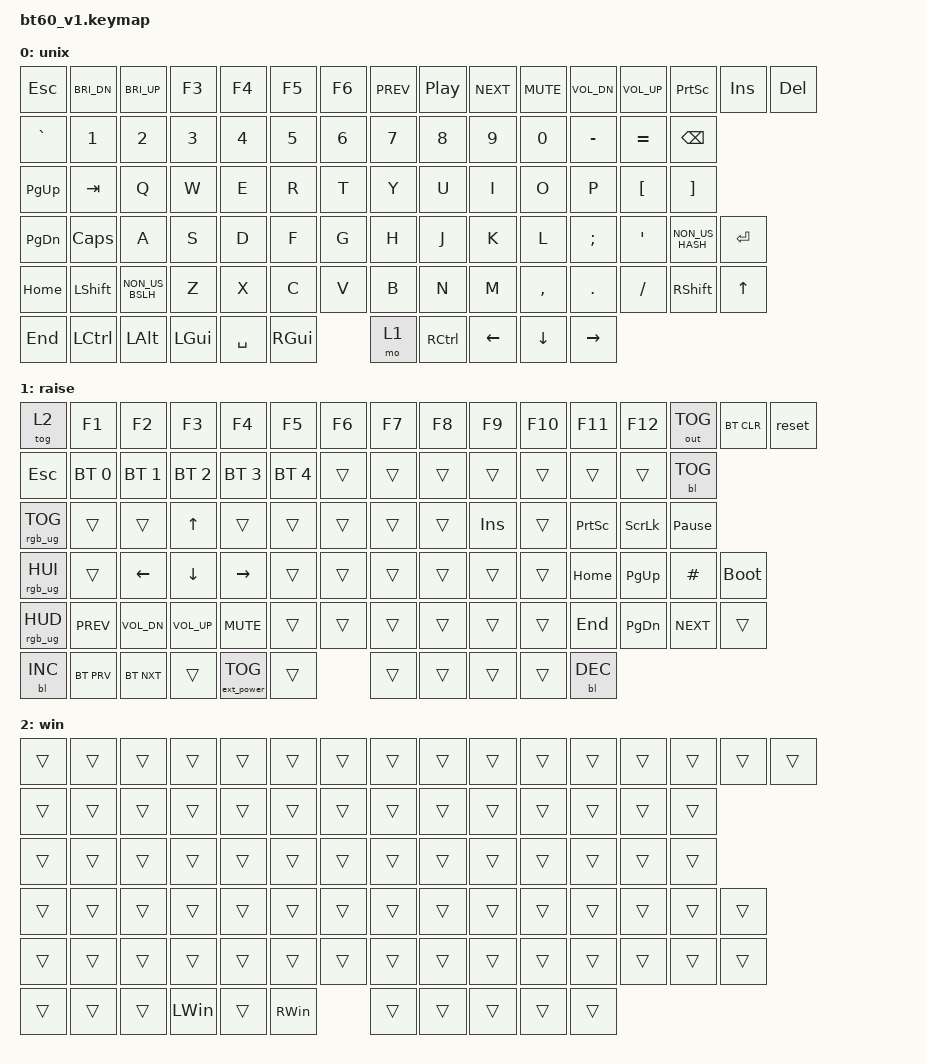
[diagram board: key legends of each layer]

  /*
  * Copyright (c) 2020 The ZMK Contributors
  *
  * SPDX-License-Identifier: MIT
  */

  #include <behaviors.dtsi>
  #include <dt-bindings/zmk/keys.h>
  #include <dt-bindings/zmk/bt.h>
  #include <dt-bindings/zmk/ext_power.h>
  #include <dt-bindings/zmk/backlight.h>
  #include <dt-bindings/zmk/outputs.h>
  #include <dt-bindings/zmk/rgb.h>
  #define ISO true

  / {
  
  	chosen {
     	#ifdef ANSI
    		zmk,matrix_transform = &ansi_transform;
     	#elif defined(HHKB)
    		zmk,matrix_transform = &hhkb_transform;
     	#elif defined(ISO)
    		zmk,matrix_transform = &iso_transform;
     	#elif defined(ALL_1U)
    		zmk,matrix_transform = &all_1u_transform;
     	#else
    		zmk,matrix_transform = &split_transform;
     	#endif
  	};
    keymap {
      compatible = "zmk,keymap";
      unix {
        // ------------------------------------------------------------------------------------------
        // | ESC |  🌚 |  🌝 | F3  |  F4 |  F5 |  F6 |  ⏪️ |  ⏯️ | ⏩️ | 🔇 | 🔉 | 🔊 |PSCRN|INS|DEL|
				// |GRAVE|  1  |  2  |  3  |  4  |  5  |  6  |  7  |  8  |  9  |  0  |  -  |  = | BKSP |PGUP|
				// | TAB |  Q  |  W  |  E  |  R  |  T  |  Y  |  U  |  I  |  O  |  P  |  [  |  ]  |     |PGDN|
				// |  CAPS  |  A  |  S  |  D  |  F  |  G  |  H  |  J  |  K  |  L | ; | ' |NUHS(\)|ENTER|HOME|
				// |LSHIFT|NUBS(§)|  Z  |  X  |  C  |  V  |  B  |  N  |  M  |  ,  |  .  | / |RSHFT| UP | END|
				// | LCTL | LALT | LGUI |            SPACE              | RGUI | mo 1 |RCTRL|LEFT|DOWN|RIGHT|
				// ------------------------------------------------------------------------------------------
        bindings = <
          &kp ESC &kp C_BRI_DN &kp C_BRI_UP &kp F3 &kp F4 &kp F5 &kp F6 &kp C_PREV &kp C_PP &kp C_NEXT &kp C_MUTE &kp C_VOL_DN &kp C_VOL_UP &kp PSCRN &kp INS &kp DEL 
          &kp GRAVE &kp N1 &kp N2 &kp N3 &kp N4 &kp N5 &kp N6 &kp N7 &kp N8 &kp N9 &kp N0 &kp MINUS &kp EQUAL &kp BSPC &kp PG_UP 
          &kp TAB &kp Q &kp W &kp E &kp R &kp T &kp Y &kp U &kp I &kp O &kp P &kp LBKT &kp RBKT &kp PG_DN 
          &kp CLCK &kp A &kp S &kp D &kp F &kp G &kp H &kp J &kp K &kp L &kp SEMI &kp SQT &kp NON_US_HASH &kp RET &kp HOME 
          &kp LSHFT &kp NON_US_BSLH &kp Z &kp X &kp C &kp V &kp B &kp N &kp M &kp COMMA &kp DOT &kp FSLH &kp RSHFT &kp UP &kp END 
          &kp LCTRL &kp LALT &kp LGUI &kp SPACE &kp RGUI &mo 1 &kp RCTRL &kp LEFT &kp DOWN &kp RIGHT
        >;
      };
      raise {
        // ------------------------------------------------------------------------------------------
        // |&tog2| F1  | F2  | F3  | F4  | F5  | F6  | F7 | F8 | F9|F10|F11|F12|OUT_TOG|BT_CLR|RESET|
				// |ESC| BT 0 | BT 1 | BT 2 | BT 3 | BT 4 |  6  |  7  |  8  |  9 | 0 | - | = |BL_TOG|RGB_TOG|
				// | TAB |  Q  | UP  |  E  |  R | T | Y | U | INS | O |PSCRN| SLCK|PAUSE_BREAK|     |RGB_HUI|
				// |  CAPS  |LEFT |DOWN |RIGHT|  F  |  G  |  H  |  J  | K | L |HOME|PG_UP|HASH|BOOTL|RGB_HUD|
				// | ⏪ |🔉|  🔊  |  🔇  |  C  |  V  |  B  |  N  |  M  |  ,  | END |PG_DN|⏩️ | UP | BL_INC |
				// |BT_PRV| BT_NXT | LGUI |            EP_TOG              |RGUI|mo 1|RCTRL|LEFT|DOWN|BL_DEC|
				// ------------------------------------------------------------------------------------------
        bindings = <
        &tog 2 &kp F1 &kp F2 &kp F3 &kp F4 &kp F5 &kp F6 &kp F7 &kp F8 &kp F9 &kp F10 &kp F11 &kp F12 &out OUT_TOG &bt BT_CLR &reset 
        &kp ESC &bt BT_SEL 0 &bt BT_SEL 1 &bt BT_SEL 2 &bt BT_SEL 3 &bt BT_SEL 4 &trans &trans &trans &trans &trans &trans &trans &bl BL_TOG &rgb_ug RGB_TOG 
        &trans &trans &kp UP &trans &trans &trans &trans &trans &kp INS &trans &kp PSCRN &kp SLCK &kp PAUSE_BREAK &rgb_ug RGB_HUI 
        &trans &kp LEFT &kp DOWN &kp RIGHT &trans &trans &trans &trans &trans &trans &kp HOME &kp PG_UP &kp HASH &bootloader &rgb_ug RGB_HUD 
        &kp C_PREV &kp C_VOL_DN &kp C_VOL_UP &kp C_MUTE &trans &trans &trans &trans &trans &trans &kp END &kp PG_DN &kp C_NEXT &trans &bl BL_INC 
        &bt BT_PRV &bt BT_NXT &trans &ext_power EP_TOG &trans &trans &trans &trans &trans &bl BL_DEC
        >;
      };
      win {
        // ------------------------------------------------------------------------------------------
        // | ESC | F1  | F2  | F3  | F4  | F5  | F6  | F7 | F8 | F9 | F10 | F11 | F12 |PSCRN|INS|DEL|
				// |GRAVE|  1  |  2  |  3  |  4  |  5  |  6  |  7  |  8  |  9  |  0  |  -  |  = | BKSP |PGUP|
				// | TAB |  Q  |  W  |  E  |  R  |  T  |  Y  |  U  |  I  |  O  |  P  |  [  |  ]  |     |PGDN|
				// |  CAPS  |  A  |  S  |  D  |  F  |  G  |  H  |  J  |  K  |  L | ; | ' |NUHS(\)|ENTER|HOME|
				// |LSHIFT|NUBS(§)|  Z  |  X  |  C  |  V  |  B  |  N  |  M  |  ,  |  .  | / |RSHFT| UP | END|
				// | LCTL | LALT | LWIN |            SPACE              | RWIN | mo 1 |RCTRL|LEFT|DOWN|RIGHT|
				// ------------------------------------------------------------------------------------------
        bindings = <
        &trans &trans &trans &trans &trans &trans &trans &trans &trans &trans &trans &trans &trans &trans &trans &trans 
        &trans &trans &trans &trans &trans &trans &trans &trans &trans &trans &trans &trans &trans &trans 
        &trans &trans &trans &trans &trans &trans &trans &trans &trans &trans &trans &trans &trans &trans 
        &trans &trans &trans &trans &trans &trans &trans &trans &trans &trans &trans &trans &trans &trans &trans 
        &trans &trans &trans &trans &trans &trans &trans &trans &trans &trans &trans &trans &trans &trans &trans 
        &trans &trans &trans &kp LWIN &trans &kp RWIN &trans &trans &trans &trans &trans
        >;
      };
    };
  };
  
